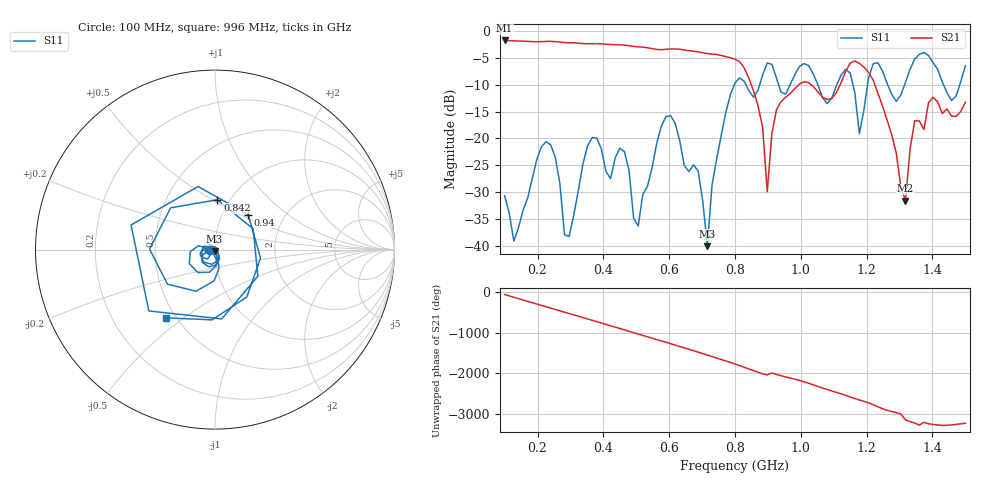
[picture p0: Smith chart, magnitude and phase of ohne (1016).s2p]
! NanoVNA-App
! Date: 2025-09-25 14:28:42
! Start: 100MHz Stop: 1,5GHz Points: 101
! S-Parameter data: F S11 S21 S12 S22
# Hz S RI R 50
!  Frequency  S11_Real  S11_Imag  S21_Real  S21_Imag  S12_Real  S12_Imag  S22_Real  S22_Imag
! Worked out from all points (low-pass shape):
!   101 points, 100 MHz to 1.5 GHz, reference 50 ohm
!   highest |S21| = -1.79 dB at 100 MHz (marker M1); lowest = -31.5 dB at 1.318 GHz (marker M2)
!   |S21| within 3 dB of the highest: start of sweep to 771.8 MHz
!   lowest |S11| = -40.0 dB at 716 MHz (marker M3), VSWR 1.02, Z = 49.7 - j0.956 ohm
!   |S11| at or under -10 dB: start of sweep to 798 MHz; 833 MHz to 875.1 MHz (42.12 MHz wide, 4.93 % of centre); 1.052 GHz to 1.11 GHz (58.04 MHz wide, 5.37 % of centre) (the widest 3 of 7)
!   S12 and S22 are empty: the file has one direction only
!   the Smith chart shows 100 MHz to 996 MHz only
!   S11 on the Smith chart (normalised r, x): 100 MHz: 0.94, -0.01; 842 MHz: 0.88, +0.53; 940 MHz: 1.32, +0.56; 996 MHz: 0.44, -0.43
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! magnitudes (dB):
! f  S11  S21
! 100 MHz  -30.6  -1.8
! 128 MHz  -39.1  -1.9
! 226 MHz  -20.6  -2.0
! 296 MHz  -38.2  -2.2
! 338 MHz  -24.7  -2.4
! 464 MHz  -22.5  -2.7
! 506 MHz  -36.3  -3.0
! 576 MHz  -17.7  -3.5
! 688 MHz  -26.0  -3.9
! 716 MHz  -40.0  -4.2
! 800 MHz  -9.7  -5.3
! 842 MHz  -11.1  -8.8
! 898 MHz  -6.0  -29.9
! 940 MHz  -11.4  -13.1
! 996 MHz  -6.6  -9.9
! 1.038 GHz  -8.0  -10.4
! 1.178 GHz  -19.1  -6.0
! 1.22 GHz  -6.1  -9.2
! 1.276 GHz  -11.8  -19.3
! 1.318 GHz  -9.6  -31.5
! 1.346 GHz  -5.2  -16.7
! 1.5 GHz  -6.5  -13.3
